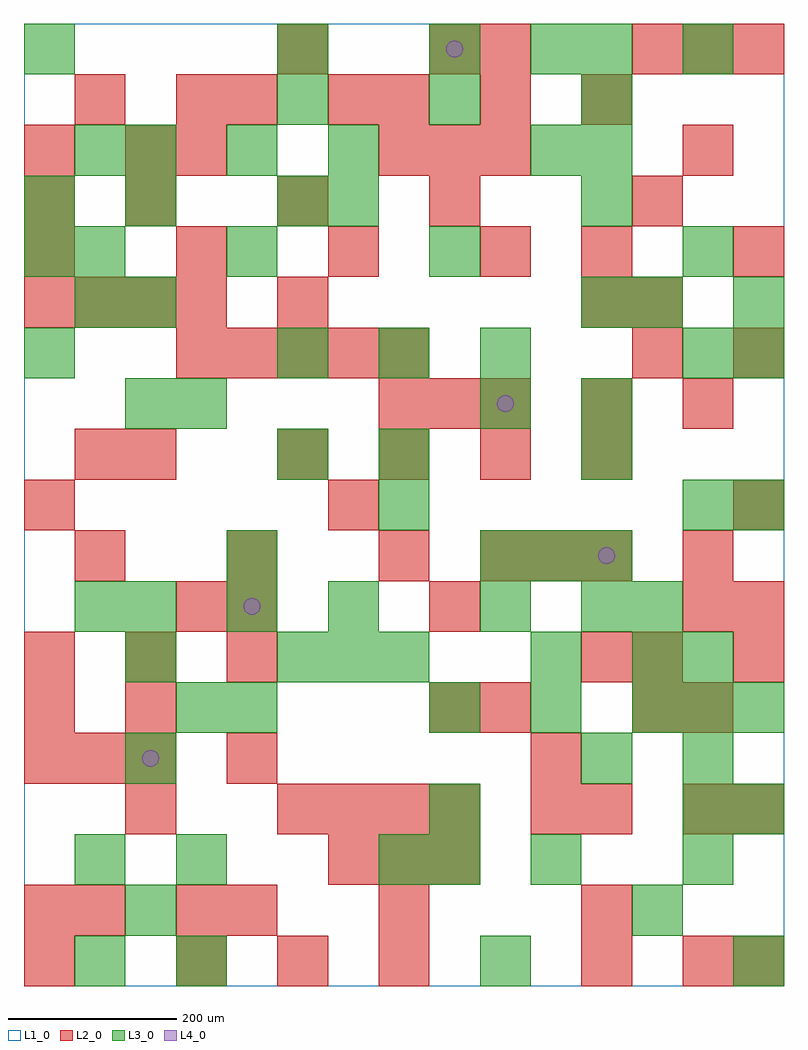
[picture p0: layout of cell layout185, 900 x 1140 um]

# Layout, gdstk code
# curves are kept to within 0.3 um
import gdstk
lib = gdstk.Library(unit=1e-6, precision=1e-09)
def R(c, l, rs):  # rectangles x0, y0, x1, y1
    for r in rs: c.add(gdstk.rectangle(r[:2], r[2:], *l))
def A(c, l, x, y, w, h, nx, ny, dx, dy):  # array of equal rectangles
    R(c, l, [(x+i*dx, y+j*dy, x+i*dx+w, y+j*dy+h) for i in range(nx) for j in range(ny)])
def P(c, l, *ps):  # polygons
    for p in ps: c.add(gdstk.Polygon(p, *l))
L1_0 = (1, 0)
L2_0 = (2, 0)
L3_0 = (3, 0)
L4_0 = (4, 0)

layout185 = lib.new_cell('layout185')
R(layout185, L1_0, [(0,0,900,1140)])
A(layout185, L2_0, 180, 0, 60, 60, 3, 1, 120, 0)
A(layout185, L2_0, 840, 0, 60, 60, 1, 3, 0, 180)
A(layout185, L2_0, 0, 60, 60, 60, 1, 3, 0, 240)
A(layout185, L2_0, 240, 60, 60, 60, 1, 3, 0, 180)
A(layout185, L2_0, 360, 120, 60, 60, 3, 1, 60, 0)
A(layout185, L2_0, 300, 180, 60, 60, 4, 1, 60, 0)
A(layout185, L2_0, 780, 180, 60, 60, 1, 3, 0, 120)
A(layout185, L2_0, 0, 240, 60, 60, 3, 1, 60, 0)
A(layout185, L2_0, 0, 360, 60, 60, 3, 1, 120, 0)
A(layout185, L2_0, 60, 480, 60, 60, 3, 1, 180, 0)
A(layout185, L2_0, 540, 480, 60, 60, 3, 1, 60, 0)
A(layout185, L2_0, 300, 600, 60, 60, 4, 1, 120, 0)
A(layout185, L2_0, 420, 660, 60, 60, 3, 2, 60, 300)
A(layout185, L2_0, 180, 720, 60, 60, 5, 1, 60, 0)
A(layout185, L2_0, 0, 780, 60, 60, 4, 1, 60, 0)
A(layout185, L2_0, 0, 840, 60, 60, 4, 1, 180, 0)
A(layout185, L2_0, 120, 900, 60, 60, 3, 1, 180, 0)
A(layout185, L2_0, 420, 1020, 60, 60, 3, 1, 120, 0)
A(layout185, L2_0, 720, 1080, 60, 60, 3, 1, 60, 0)
R(layout185, L2_0, [(0,0,60,60), (660,0,720,60), (780,0,840,60), (60,60,120,120), (180,60,240,120), (420,60,480,120), (660,60,720,120), (120,180,180,240), (600,180,660,240), (660,180,720,240), (600,240,660,300), (120,300,180,360), (480,300,540,360), (540,300,600,360), (720,300,780,360), (660,360,720,420), (720,360,780,420), (180,420,240,480), (480,420,540,480), (840,420,900,480), (780,480,840,540), (360,540,420,600), (840,540,900,600), (60,600,120,660), (120,600,180,660), (660,660,720,720), (780,660,840,720), (720,720,780,780), (840,720,900,780), (300,780,360,840), (660,780,720,840), (720,780,780,840), (660,840,720,900), (840,840,900,900), (0,900,60,960), (720,900,780,960), (0,960,60,1020), (120,960,180,1020), (180,960,240,1020), (780,960,840,1020), (60,1020,120,1080), (180,1020,240,1080), (240,1020,300,1080), (360,1020,420,1080), (300,1080,360,1140), (480,1080,540,1140), (540,1080,600,1140)])
A(layout185, L3_0, 780, 120, 60, 60, 1, 5, 0, 60)
A(layout185, L3_0, 660, 240, 60, 60, 1, 3, 0, 180)
A(layout185, L3_0, 480, 300, 60, 60, 3, 1, 120, 0)
A(layout185, L3_0, 300, 360, 60, 60, 3, 1, 60, 0)
A(layout185, L3_0, 120, 420, 60, 60, 3, 2, 120, 540)
A(layout185, L3_0, 540, 480, 60, 60, 3, 1, 60, 0)
A(layout185, L3_0, 120, 660, 60, 60, 1, 3, 0, 120)
A(layout185, L3_0, 660, 660, 60, 60, 1, 3, 0, 120)
A(layout185, L3_0, 300, 720, 60, 60, 3, 1, 120, 0)
A(layout185, L3_0, 300, 1020, 60, 60, 3, 1, 180, 0)
R(layout185, L3_0, [(60,0,120,60), (180,0,240,60), (540,0,600,60), (840,0,900,60), (120,60,180,120), (720,60,780,120), (60,120,120,180), (180,120,240,180), (420,120,480,180), (480,120,540,180), (600,120,660,180), (480,180,540,240), (840,180,900,240), (120,240,180,300), (180,300,240,360), (240,300,300,360), (840,300,900,360), (120,360,180,420), (600,360,660,420), (720,360,780,420), (60,420,120,480), (540,420,600,480), (720,420,780,480), (240,480,300,540), (420,540,480,600), (780,540,840,600), (840,540,900,600), (300,600,360,660), (420,600,480,660), (180,660,240,720), (540,660,600,720), (0,720,60,780), (780,720,840,780), (840,720,900,780), (60,780,120,840), (720,780,780,840), (840,780,900,840), (0,840,60,900), (60,840,120,900), (240,840,300,900), (480,840,540,900), (780,840,840,900), (0,900,60,960), (300,900,360,960), (360,900,420,960), (60,960,120,1020), (600,960,660,1020), (660,960,720,1020), (0,1080,60,1140), (300,1080,360,1140), (480,1080,540,1140), (600,1080,660,1140), (660,1080,720,1140), (780,1080,840,1140)])
P(layout185, L4_0, [(160,270),(159.239,273.827),(157.071,277.071),(153.827,279.239),(150,280),(146.173,279.239),(142.929,277.071),(140.761,273.827),(140,270),(140.761,266.173),(142.929,262.929),(146.173,260.761),(150,260),(153.827,260.761),(157.071,262.929),(159.239,266.173)],
  [(280,450),(279.239,453.827),(277.071,457.071),(273.827,459.239),(270,460),(266.173,459.239),(262.929,457.071),(260.761,453.827),(260,450),(260.761,446.173),(262.929,442.929),(266.173,440.761),(270,440),(273.827,440.761),(277.071,442.929),(279.239,446.173)],
  [(520,1110),(519.239,1113.827),(517.071,1117.071),(513.827,1119.239),(510,1120),(506.173,1119.239),(502.929,1117.071),(500.761,1113.827),(500,1110),(500.761,1106.173),(502.929,1102.929),(506.173,1100.761),(510,1100),(513.827,1100.761),(517.071,1102.929),(519.239,1106.173)],
  [(580,690),(579.239,693.827),(577.071,697.071),(573.827,699.239),(570,700),(566.173,699.239),(562.929,697.071),(560.761,693.827),(560,690),(560.761,686.173),(562.929,682.929),(566.173,680.761),(570,680),(573.827,680.761),(577.071,682.929),(579.239,686.173)],
  [(700,510),(699.239,513.827),(697.071,517.071),(693.827,519.239),(690,520),(686.173,519.239),(682.929,517.071),(680.761,513.827),(680,510),(680.761,506.173),(682.929,502.929),(686.173,500.761),(690,500),(693.827,500.761),(697.071,502.929),(699.239,506.173)])

lib.write_gds('layout185.gds')
